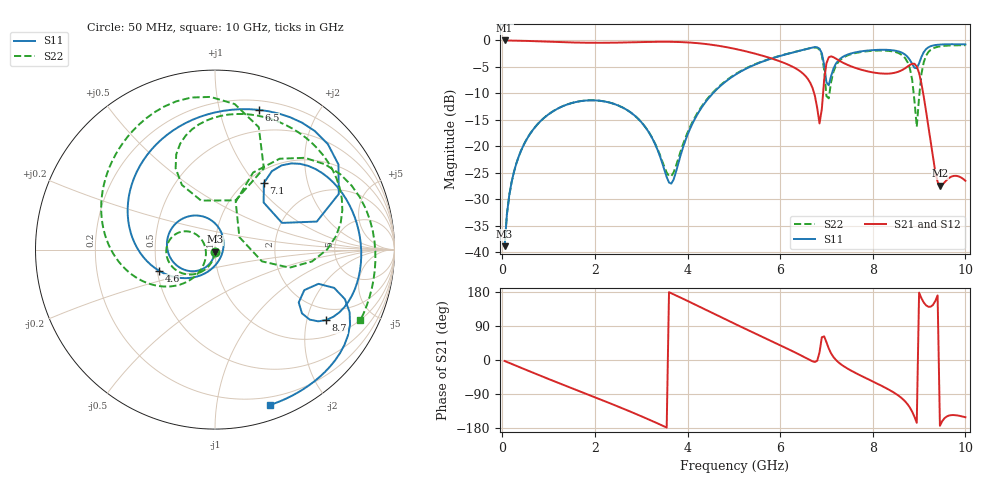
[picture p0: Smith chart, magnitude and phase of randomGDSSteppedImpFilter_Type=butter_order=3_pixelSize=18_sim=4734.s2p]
! freq	dB(S11)	phase(S11)	dB(S12)	phase(S12)
!  dB(S21)	phase(S21)	dB(S22)	phase(S22)
!S-par simulation data
#  GHz  S  DB  R 50
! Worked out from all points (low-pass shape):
!   200 points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, 50 MHz to 10 GHz, reference 50 ohm
!   highest |S21| = 0.00 dB at 50 MHz (marker M1); lowest = -27.4 dB at 9.45 GHz (marker M2)
!   |S21| within 3 dB of the highest: start of sweep to 5.665 GHz; 7.099407 GHz to 7.100649 GHz (1.243 MHz wide, 0.0175 % of centre)
!   lowest |S11| = -38.9 dB at 50 MHz (marker M3), VSWR 1.02, Z = 49.9 - j1.13 ohm
!   |S11| at or under -10 dB: start of sweep to 4.547 GHz
!   |S22| runs from -38.9 to -0.9 dB; largest |S21 - S12| = 0
!   S11 on the Smith chart (normalised r, x): 50 MHz: 1.00, -0.02; 4.6 GHz: 0.51, -0.13; 6.5 GHz: 0.28, +1.32; 7.1 GHz: 1.18, +1.11; 8.7 GHz: 1.55, -2.63; 10 GHz: 0.13, -1.40
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0.05  -38.88 -93.6  -0.00 -2.6  -0.00 -2.6  -38.87 -92.4
0.2  -26.82 -101.4  -0.03 -10.2  -0.03 -10.2  -26.82 -99.6
0.5  -19.11 -117.9  -0.08 -25.4  -0.08 -25.4  -19.10 -113.6
1.75  -11.40 174.5  -0.43 -86.4  -0.43 -86.4  -11.40 -168.6
2.75  -13.48 116.6  -0.37 -135.4  -0.37 -135.4  -13.47 152.0
3.4  -21.78 57.5  -0.25 -169.9  -0.25 -169.9  -21.54 145.6
3.65  -27.06 -21.3  -0.26 176.1  -0.26 176.1  -25.64 -166.3
4.6  -9.51 -159.6  -0.92 120.4  -0.92 120.4  -9.36 -142.8
5.05  -6.39 168.6  -1.64 93.8  -1.64 93.8  -6.29 -163.5
5.75  -3.60 122.3  -3.23 53.3  -3.23 53.3  -3.55 162.3
6.5  -1.77 72.7  -6.31 8.9  -6.31 8.9  -1.77 121.2
6.7  -1.34 55.5  -8.99 -3.6  -8.99 -3.6  -1.37 104.7
6.85  -1.56 34.6  -15.69 20.0  -15.69 20.0  -1.74 82.3
6.95  -4.61 15.4  -7.44 62.4  -7.44 62.4  -5.55 59.0
7.1  -6.74 53.7  -3.00 17.4  -3.00 17.4  -7.86 117.1
7.6  -2.30 26.8  -5.12 -32.5  -5.12 -32.5  -2.44 84.5
8.35  -1.80 -13.2  -6.26 -78.4  -6.26 -78.4  -1.98 37.7
8.7  -2.69 -32.3  -5.25 -109.4  -5.25 -109.4  -3.36 6.5
8.95  -5.25 -24.4  -4.92 -165.7  -4.92 -165.7  -16.33 27.1
9.1  -2.22 -20.9  -10.59 151.8  -10.59 151.8  -4.13 54.6
9.45  -0.78 -45.4  -27.43 -173.7  -27.43 -173.7  -1.12 10.9
10  -0.74 -70.7  -26.52 -151.1  -26.52 -151.1  -0.91 -26.0
